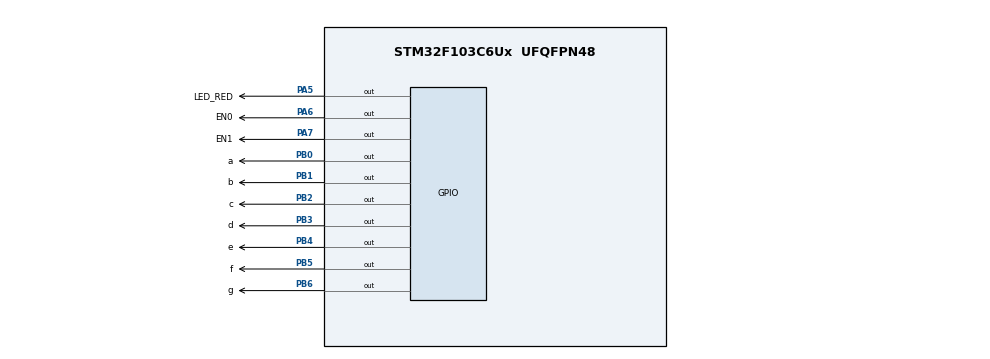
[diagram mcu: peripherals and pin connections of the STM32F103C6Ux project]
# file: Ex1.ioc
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Mcu.Family=STM32F1
Mcu.Name=STM32F103C6Ux
Mcu.Package=UFQFPN48
NVIC.PriorityGroup=NVIC_PRIORITYGROUP_4
NVIC.TIM2_IRQn=true\:0\:0\:false\:false\:true\:true\:true
PA5.GPIO_Label=LED_RED
PA5.Signal=GPIO_Output
PA6.GPIO_Label=EN0
PA6.Signal=GPIO_Output
PA7.GPIO_Label=EN1
PA7.Signal=GPIO_Output
PB0.GPIO_Label=a
PB0.Signal=GPIO_Output
PB1.GPIO_Label=b
PB1.Signal=GPIO_Output
PB2.GPIO_Label=c
PB2.Signal=GPIO_Output
PB3.GPIO_Label=d
PB3.Signal=GPIO_Output
PB4.GPIO_Label=e
PB4.Signal=GPIO_Output
PB5.GPIO_Label=f
PB5.Signal=GPIO_Output
PB6.GPIO_Label=g
PB6.Signal=GPIO_Output
ProjectManager.HeapSize=0x200
ProjectManager.StackSize=0x400
ProjectManager.TargetToolchain=STM32CubeIDE
RCC.APB1Freq_Value=8000000
RCC.APB2Freq_Value=8000000
TIM2.Period=9
TIM2.Prescaler=7999
VP_SYS_VS_ND.Mode=No_Debug
VP_TIM2_VS_ClockSourceINT.Mode=Internal
board=custom

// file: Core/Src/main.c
/* USER CODE BEGIN Header */
/**
  ******************************************************************************
  * @file           : main.c
  * @brief          : Main program body
  ******************************************************************************
  * @attention
  *
  * <h2><center>&copy; Copyright (c) 2024 STMicroelectronics.
  * All rights reserved.</center></h2>
  *
  * This software component is licensed by ST under BSD 3-Clause license,
  * the "License"; You may not use this file except in compliance with the
  * License. You may obtain a copy of the License at:
  *                        opensource.org/licenses/BSD-3-Clause
  *
  ******************************************************************************
  */
/* USER CODE END Header */
#include "main.h"

/* USER CODE BEGIN Includes */
#include "software_timer.h"
#include "display7SEG.h"
/* USER CODE END Includes */

TIM_HandleTypeDef htim2;

void SystemClock_Config(void);
static void MX_TIM2_Init(void);
static void MX_GPIO_Init(void);

int main(void)
{

  /* MCU Configuration--------------------------------------------------------*/

  /* Reset of all peripherals, Initializes the Flash interface and the Systick. */
  HAL_Init();

  /* Configure the system clock */
  SystemClock_Config();

  /* Initialize all configured peripherals */
  MX_TIM2_Init();
  MX_GPIO_Init();
  /* USER CODE BEGIN 2 */
  HAL_TIM_Base_Start_IT(&htim2);
  /* USER CODE END 2 */

  /* Infinite loop */
  /* USER CODE BEGIN WHILE */
  setTimer1(50);

  HAL_GPIO_WritePin(EN0_GPIO_Port, EN0_Pin, 0);
  HAL_GPIO_WritePin(EN1_GPIO_Port, EN1_Pin, 1);
  int status = 1;
  while (1)
  {
	  if(timer1_flag == 1){
		  if(status == 1){
			  status = 2;
		  }
		  else {
			  status = 1;
		  }
			  HAL_GPIO_TogglePin(EN0_GPIO_Port, EN0_Pin);
			  HAL_GPIO_TogglePin(EN1_GPIO_Port, EN1_Pin);
		  setTimer1(50);
	  }
	  display7SEG(status);
    /* USER CODE END WHILE */

  }
}

void SystemClock_Config(void)
{
  RCC_OscInitTypeDef RCC_OscInitStruct = {0};
  RCC_ClkInitTypeDef RCC_ClkInitStruct = {0};

  /** Initializes the RCC Oscillators according to the specified parameters
  * in the RCC_OscInitTypeDef structure.
  */
  RCC_OscInitStruct.OscillatorType = RCC_OSCILLATORTYPE_HSI;
  RCC_OscInitStruct.HSIState = RCC_HSI_ON;
  RCC_OscInitStruct.HSICalibrationValue = RCC_HSICALIBRATION_DEFAULT;
  RCC_OscInitStruct.PLL.PLLState = RCC_PLL_NONE;
  if (HAL_RCC_OscConfig(&RCC_OscInitStruct) != HAL_OK)
  {
    Error_Handler();
  }
  /** Initializes the CPU, AHB and APB buses clocks
  */
  RCC_ClkInitStruct.ClockType = RCC_CLOCKTYPE_HCLK|RCC_CLOCKTYPE_SYSCLK
                              |RCC_CLOCKTYPE_PCLK1|RCC_CLOCKTYPE_PCLK2;
  RCC_ClkInitStruct.SYSCLKSource = RCC_SYSCLKSOURCE_HSI;
  RCC_ClkInitStruct.AHBCLKDivider = RCC_SYSCLK_DIV1;
  RCC_ClkInitStruct.APB1CLKDivider = RCC_HCLK_DIV1;
  RCC_ClkInitStruct.APB2CLKDivider = RCC_HCLK_DIV1;

  if (HAL_RCC_ClockConfig(&RCC_ClkInitStruct, FLASH_LATENCY_0) != HAL_OK)
  {
    Error_Handler();
  }
}

static void MX_TIM2_Init(void)
{

  TIM_ClockConfigTypeDef sClockSourceConfig = {0};
  TIM_MasterConfigTypeDef sMasterConfig = {0};

  htim2.Instance = TIM2;
  htim2.Init.Prescaler = 7999;
  htim2.Init.CounterMode = TIM_COUNTERMODE_UP;
  htim2.Init.Period = 9;
  htim2.Init.ClockDivision = TIM_CLOCKDIVISION_DIV1;
  htim2.Init.AutoReloadPreload = TIM_AUTORELOAD_PRELOAD_DISABLE;
  if (HAL_TIM_Base_Init(&htim2) != HAL_OK)
  {
    Error_Handler();
  }
  sClockSourceConfig.ClockSource = TIM_CLOCKSOURCE_INTERNAL;
  if (HAL_TIM_ConfigClockSource(&htim2, &sClockSourceConfig) != HAL_OK)
  {
    Error_Handler();
  }
  sMasterConfig.MasterOutputTrigger = TIM_TRGO_RESET;
  sMasterConfig.MasterSlaveMode = TIM_MASTERSLAVEMODE_DISABLE;
  if (HAL_TIMEx_MasterConfigSynchronization(&htim2, &sMasterConfig) != HAL_OK)
  {
    Error_Handler();
  }

}

static void MX_GPIO_Init(void)
{
  GPIO_InitTypeDef GPIO_InitStruct = {0};

  /* GPIO Ports Clock Enable */
  __HAL_RCC_GPIOA_CLK_ENABLE();
  __HAL_RCC_GPIOB_CLK_ENABLE();

  /*Configure GPIO pin Output Level */
  HAL_GPIO_WritePin(GPIOA, LED_RED_Pin|EN0_Pin|EN1_Pin, GPIO_PIN_RESET);

  /*Configure GPIO pin Output Level */
  HAL_GPIO_WritePin(GPIOB, a_Pin|b_Pin|c_Pin|d_Pin
                          |e_Pin|f_Pin|g_Pin, GPIO_PIN_RESET);

  /*Configure GPIO pins : LED_RED_Pin EN0_Pin EN1_Pin */
  GPIO_InitStruct.Pin = LED_RED_Pin|EN0_Pin|EN1_Pin;
  GPIO_InitStruct.Mode = GPIO_MODE_OUTPUT_PP;
  GPIO_InitStruct.Pull = GPIO_NOPULL;
  GPIO_InitStruct.Speed = GPIO_SPEED_FREQ_LOW;
  HAL_GPIO_Init(GPIOA, &GPIO_InitStruct);

  /*Configure GPIO pins : a_Pin b_Pin c_Pin d_Pin
                           e_Pin f_Pin g_Pin */
  GPIO_InitStruct.Pin = a_Pin|b_Pin|c_Pin|d_Pin
                          |e_Pin|f_Pin|g_Pin;
  GPIO_InitStruct.Mode = GPIO_MODE_OUTPUT_PP;
  GPIO_InitStruct.Pull = GPIO_NOPULL;
  GPIO_InitStruct.Speed = GPIO_SPEED_FREQ_LOW;
  HAL_GPIO_Init(GPIOB, &GPIO_InitStruct);

}

/* USER CODE BEGIN 4 */
int counter = 100;
void HAL_TIM_PeriodElapsedCallback(TIM_HandleTypeDef *htim){
	timerRun();
}
/* USER CODE END 4 */

void Error_Handler(void)
{
  __disable_irq();
  while (1)
  {
  }
}

/************************ (C) COPYRIGHT STMicroelectronics *****END OF FILE****/
